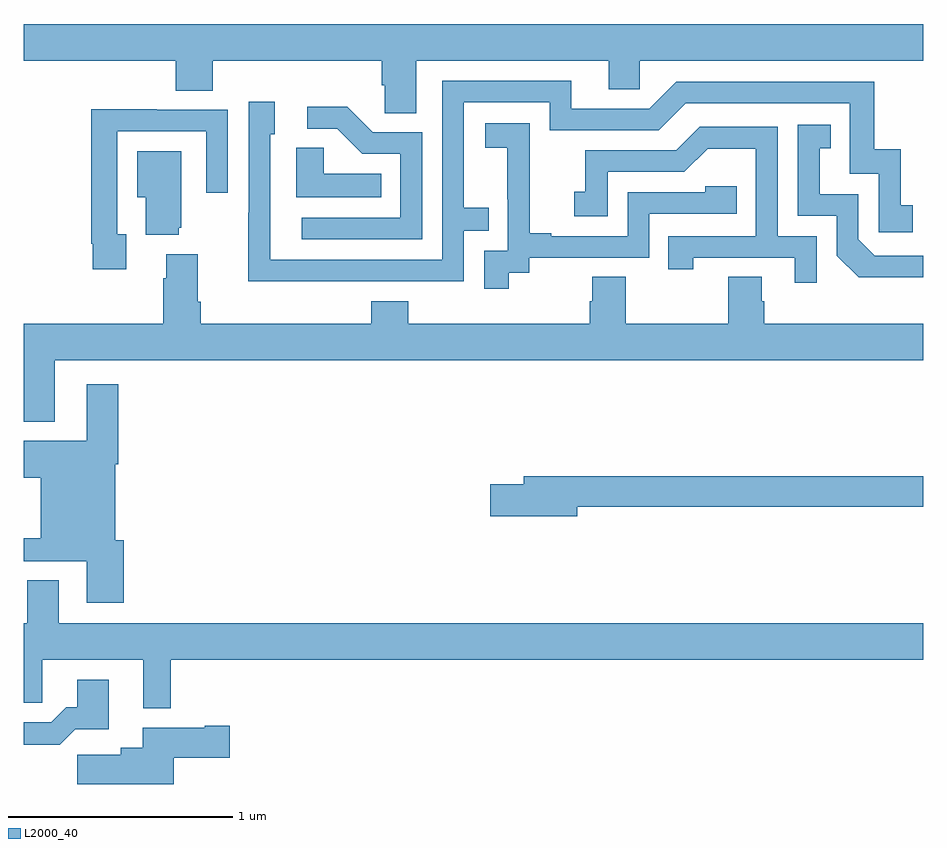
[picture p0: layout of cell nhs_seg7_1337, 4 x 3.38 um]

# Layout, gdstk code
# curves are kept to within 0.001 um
import gdstk
lib = gdstk.Library(unit=1e-6, precision=1e-09)
def P(c, l, *ps):  # polygons
    for p in ps: c.add(gdstk.Polygon(p, *l))
L2000_40 = (2000, 40)

nhs_seg7_1337 = lib.new_cell('nhs_seg7_1337')
P(nhs_seg7_1337, L2000_40, [(204.745,1043.24),(205.601,1043.24),(205.601,1043.113),(205.74,1043.113),(205.74,1043.24),(207,1043.24),(207,1043.404),(203,1043.404),(203,1043.24),(203.675,1043.24),(203.675,1043.107),(203.84,1043.107),(203.84,1043.24),(204.593,1043.24),(204.593,1043.131),(204.606,1043.131),(204.606,1043.008),(204.745,1043.008)],
  [(204.461,1042.26),(204.957,1042.26),(204.957,1042.485),(205.067,1042.485),(205.067,1042.586),(204.957,1042.586),(204.957,1043.055),(205.338,1043.055),(205.338,1042.932),(205.824,1042.932),(205.944,1043.052),(206.673,1043.052),(206.673,1042.737),(206.802,1042.737),(206.802,1042.478),(206.953,1042.478),(206.953,1042.599),(206.9,1042.599),(206.9,1042.846),(206.782,1042.846),(206.782,1043.148),(205.902,1043.148),(205.782,1043.028),(205.435,1043.028),(205.435,1043.151),(204.861,1043.151),(204.861,1042.356),(204.096,1042.356),(204.096,1042.914),(204.115,1042.914),(204.115,1043.059),(204,1043.059),(204,1042.565),(203.998,1042.565),(203.998,1042.259)],
  [(204.771,1042.923),(204.552,1042.923),(204.439,1043.036),(204.261,1043.036),(204.261,1042.938),(204.395,1042.938),(204.506,1042.827),(204.675,1042.827),(204.675,1042.542),(204.237,1042.542),(204.237,1042.446),(204.771,1042.446)],
  [(203.455,1042.47),(203.415,1042.47),(203.415,1042.926),(203.811,1042.926),(203.811,1042.653),(203.907,1042.653),(203.907,1043.022),(203.591,1043.022),(203.591,1043.024),(203.299,1043.024),(203.299,1042.426),(203.307,1042.426),(203.307,1042.314),(203.455,1042.314)],
  [(205.156,1042.297),(205.248,1042.297),(205.248,1042.365),(205.782,1042.365),(205.782,1042.56),(206.171,1042.56),(206.171,1042.683),(206.031,1042.683),(206.031,1042.656),(205.686,1042.656),(205.686,1042.461),(205.345,1042.461),(205.345,1042.474),(205.25,1042.474),(205.25,1042.757),(205.251,1042.757),(205.251,1042.963),(205.053,1042.963),(205.053,1042.853),(205.151,1042.853),(205.151,1042.625),(205.152,1042.625),(205.152,1042.395),(205.047,1042.395),(205.047,1042.227),(205.156,1042.227)],
  [(207,1042.374),(206.784,1042.374),(206.712,1042.446),(206.712,1042.647),(206.539,1042.647),(206.539,1042.851),(206.588,1042.851),(206.588,1042.957),(206.442,1042.957),(206.442,1042.551),(206.616,1042.551),(206.616,1042.374),(206.714,1042.277),(207,1042.277)],
  [(206.526,1042.461),(206.352,1042.461),(206.352,1042.947),(206.006,1042.947),(205.901,1042.842),(205.498,1042.842),(205.498,1042.657),(205.449,1042.657),(205.449,1042.548),(205.596,1042.548),(205.596,1042.746),(205.938,1042.746),(206.042,1042.85),(206.256,1042.85),(206.256,1042.461),(205.867,1042.461),(205.867,1042.314),(205.978,1042.314),(205.978,1042.365),(206.429,1042.365),(206.429,1042.254),(206.526,1042.254)],
  [(204.59,1042.738),(204.333,1042.738),(204.333,1042.853),(204.212,1042.853),(204.212,1042.634),(204.59,1042.634)],
  [(203.69,1042.497),(203.701,1042.497),(203.701,1042.837),(203.504,1042.837),(203.504,1042.634),(203.543,1042.634),(203.543,1042.466),(203.69,1042.466)],
  [(207,1042.072),(206.294,1042.072),(206.294,1042.17),(206.281,1042.17),(206.281,1042.28),(206.134,1042.28),(206.134,1042.072),(205.677,1042.072),(205.677,1042.28),(205.529,1042.28),(205.529,1042.17),(205.517,1042.17),(205.517,1042.072),(204.71,1042.072),(204.71,1042.171),(204.545,1042.171),(204.545,1042.072),(203.786,1042.072),(203.786,1042.168),(203.773,1042.168),(203.773,1042.381),(203.633,1042.381),(203.633,1042.274),(203.621,1042.274),(203.621,1042.072),(203,1042.072),(203,1041.635),(203.137,1041.635),(203.137,1041.908),(207,1041.908)],
  [(203.444,1041.108),(203.407,1041.108),(203.407,1041.446),(203.42,1041.446),(203.42,1041.802),(203.279,1041.802),(203.279,1041.55),(203,1041.55),(203,1041.386),(203.075,1041.386),(203.075,1041.116),(203,1041.116),(203,1041.015),(203.279,1041.015),(203.279,1040.829),(203.444,1040.829)],
  [(205.462,1041.256),(207,1041.256),(207,1041.392),(205.223,1041.392),(205.223,1041.356),(205.074,1041.356),(205.074,1041.214),(205.462,1041.214)],
  [(203.653,1040.576),(207,1040.576),(207,1040.74),(203.155,1040.74),(203.155,1040.93),(203.015,1040.93),(203.015,1040.74),(203,1040.74),(203,1040.386),(203.082,1040.386),(203.082,1040.576),(203.531,1040.576),(203.531,1040.36),(203.653,1040.36)],
  [(203.228,1040.267),(203.377,1040.267),(203.377,1040.488),(203.237,1040.488),(203.237,1040.365),(203.188,1040.365),(203.121,1040.298),(203,1040.298),(203,1040.198),(203.159,1040.198)],
  [(203.668,1040.141),(203.917,1040.141),(203.917,1040.283),(203.804,1040.283),(203.804,1040.275),(203.528,1040.275),(203.528,1040.185),(203.432,1040.185),(203.432,1040.153),(203.238,1040.153),(203.238,1040.024),(203.668,1040.024)])

lib.write_gds('nhs_seg7_1337.gds')
